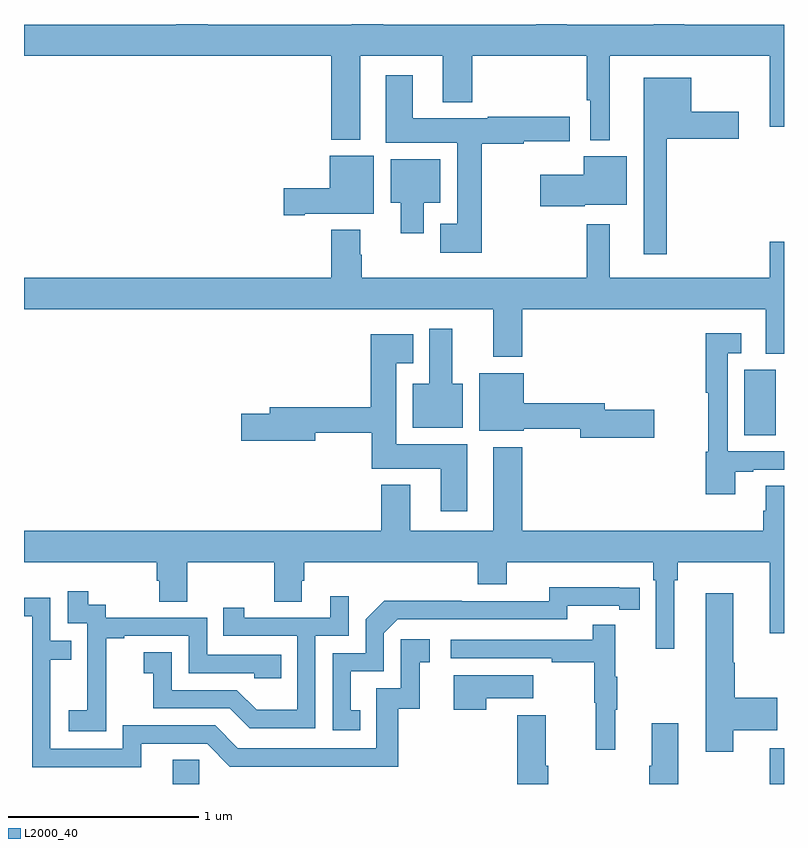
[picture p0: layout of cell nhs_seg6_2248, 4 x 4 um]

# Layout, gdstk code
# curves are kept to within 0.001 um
import gdstk
lib = gdstk.Library(unit=1e-6, precision=1e-09)
def R(c, l, rs):  # rectangles x0, y0, x1, y1
    for r in rs: c.add(gdstk.rectangle(r[:2], r[2:], *l))
def P(c, l, *ps):  # polygons
    for p in ps: c.add(gdstk.Polygon(p, *l))
L2000_40 = (2000, 40)

nhs_seg6_2248 = lib.new_cell('nhs_seg6_2248')
R(nhs_seg6_2248, L2000_40, [(245.783,947.5,245.922,947.627), (248.924,947.5,249,947.689), (248.792,949.336,248.956,949.68)])
P(nhs_seg6_2248, L2000_40, [(248.083,951.332),(248.924,951.332),(248.924,950.958),(249,950.958),(249,951.496),(248.474,951.496),(248.474,951.5),(248.314,951.5),(248.314,951.496),(247.857,951.496),(247.857,951.5),(247.697,951.5),(247.697,951.496),(246.89,951.496),(246.89,951.5),(246.725,951.5),(246.725,951.496),(245.966,951.496),(245.966,951.5),(245.801,951.5),(245.801,951.496),(245,951.496),(245,951.332),(246.617,951.332),(246.617,950.891),(246.769,950.891),(246.769,951.332),(247.205,951.332),(247.205,951.089),(247.358,951.089),(247.358,951.332),(247.962,951.332),(247.962,951.1),(247.979,951.1),(247.979,950.888),(248.083,950.888)],
  [(247.41,950.87),(247.629,950.87),(247.629,950.882),(247.873,950.882),(247.873,951.012),(247.441,951.012),(247.441,951.004),(247.045,951.004),(247.045,951.229),(246.905,951.229),(246.905,950.876),(247.28,950.876),(247.28,950.449),(247.19,950.449),(247.19,950.297),(247.41,950.297)],
  [(248.383,950.897),(248.761,950.897),(248.761,951.039),(248.512,951.039),(248.512,951.217),(248.261,951.217),(248.261,950.289),(248.383,950.289)],
  [(246.478,950.501),(246.841,950.501),(246.841,950.806),(246.608,950.806),(246.608,950.636),(246.366,950.636),(246.366,950.494),(246.478,950.494)],
  [(247.95,950.549),(248.173,950.549),(248.173,950.803),(247.946,950.803),(247.946,950.707),(247.716,950.707),(247.716,950.542),(247.95,950.542)],
  [(247.105,950.558),(247.192,950.558),(247.192,950.788),(246.929,950.788),(246.929,950.558),(246.983,950.558),(246.983,950.4),(247.105,950.4)],
  [(247.622,950),(248.903,950),(248.903,949.765),(249,949.765),(249,950.353),(248.924,950.353),(248.924,950.164),(248.083,950.164),(248.083,950.446),(247.962,950.446),(247.962,950.164),(246.777,950.164),(246.777,950.285),(246.769,950.285),(246.769,950.416),(246.617,950.416),(246.617,950.164),(245,950.164),(245,950),(247.469,950),(247.469,949.748),(247.622,949.748)],
  [(247.309,949.606),(247.255,949.606),(247.255,949.897),(247.133,949.897),(247.133,949.606),(247.046,949.606),(247.046,949.376),(247.309,949.376)],
  [(248.743,949.143),(248.839,949.143),(248.839,949.155),(249,949.155),(249,949.251),(248.703,949.251),(248.703,949.767),(248.776,949.767),(248.776,949.873),(248.587,949.873),(248.587,949.56),(248.602,949.56),(248.602,949.248),(248.587,949.248),(248.587,949.026),(248.743,949.026)],
  [(247.333,949.288),(246.958,949.288),(246.958,949.715),(247.048,949.715),(247.048,949.867),(246.824,949.867),(246.824,949.484),(246.293,949.484),(246.293,949.448),(246.144,949.448),(246.144,949.306),(246.532,949.306),(246.532,949.348),(246.829,949.348),(246.829,949.16),(247.193,949.16),(247.193,948.936),(247.333,948.936)],
  [(248.317,949.469),(248.056,949.469),(248.056,949.505),(247.63,949.505),(247.63,949.663),(247.397,949.663),(247.397,949.358),(247.63,949.358),(247.63,949.369),(247.928,949.369),(247.928,949.322),(248.317,949.322)],
  [(248.422,948.572),(248.441,948.572),(248.441,948.668),(248.924,948.668),(248.924,948.294),(249,948.294),(249,949.07),(248.903,949.07),(248.903,948.938),(248.891,948.938),(248.891,948.832),(247.622,948.832),(247.622,949.273),(247.469,949.273),(247.469,948.832),(247.033,948.832),(247.033,949.075),(246.881,949.075),(246.881,948.832),(245,948.832),(245,948.668),(245.699,948.668),(245.699,948.57),(245.711,948.57),(245.711,948.46),(245.859,948.46),(245.859,948.668),(246.316,948.668),(246.316,948.46),(246.463,948.46),(246.463,948.57),(246.476,948.57),(246.476,948.668),(247.388,948.668),(247.388,948.551),(247.54,948.551),(247.54,948.668),(248.312,948.668),(248.312,948.572),(248.325,948.572),(248.325,948.213),(248.422,948.213)],
  [(246.77,947.889),(246.721,947.889),(246.721,948.093),(246.894,948.093),(246.894,948.294),(246.966,948.366),(247.86,948.366),(247.86,948.438),(248.132,948.438),(248.132,948.418),(248.24,948.418),(248.24,948.534),(247.764,948.535),(247.764,948.462),(247.304,948.462),(247.304,948.464),(246.896,948.464),(246.798,948.366),(246.798,948.189),(246.624,948.189),(246.624,947.784),(246.77,947.784)],
  [(245.433,947.983),(245.432,947.983),(245.432,948.267),(245.527,948.267),(245.527,948.279),(245.868,948.279),(245.868,948.084),(246.213,948.084),(246.213,948.057),(246.353,948.057),(246.353,948.18),(245.964,948.18),(245.964,948.375),(245.43,948.375),(245.43,948.444),(245.338,948.444),(245.338,948.514),(245.229,948.514),(245.229,948.345),(245.334,948.345),(245.334,948.116),(245.333,948.116),(245.333,947.887),(245.235,947.887),(245.235,947.777),(245.433,947.777)],
  [(248.734,947.783),(248.965,947.783),(248.965,947.954),(248.742,947.954),(248.742,948.137),(248.734,948.137),(248.734,948.505),(248.588,948.505),(248.588,947.67),(248.734,947.67)],
  [(246.534,948.279),(246.708,948.279),(246.708,948.487),(246.611,948.487),(246.611,948.375),(246.16,948.375),(246.16,948.427),(246.049,948.427),(246.049,948.279),(246.438,948.279),(246.438,947.89),(246.224,947.89),(246.12,947.994),(245.778,947.994),(245.778,948.193),(245.631,948.193),(245.631,948.083),(245.68,948.083),(245.68,947.898),(246.083,947.898),(246.188,947.793),(246.534,947.793)],
  [(245.617,947.712),(245.964,947.712),(246.084,947.592),(246.971,947.592),(246.971,947.895),(247.082,947.895),(247.082,948.141),(247.135,948.141),(247.135,948.262),(246.984,948.262),(246.984,948.003),(246.855,948.003),(246.855,947.688),(246.126,947.688),(246.006,947.808),(245.52,947.808),(245.52,947.685),(245.139,947.685),(245.139,948.154),(245.249,948.154),(245.249,948.255),(245.139,948.255),(245.139,948.48),(245,948.48),(245,948.384),(245.043,948.384),(245.043,947.589),(245.617,947.589)],
  [(248.111,947.891),(248.122,947.891),(248.122,948.065),(248.111,948.065),(248.111,948.337),(247.993,948.337),(247.993,948.258),(247.245,948.258),(247.245,948.162),(247.777,948.162),(247.777,948.142),(248.001,948.142),(248.001,947.928),(248.008,947.928),(248.008,947.679),(248.111,947.679)],
  [(247.433,947.951),(247.681,947.951),(247.681,948.073),(247.262,948.073),(247.262,947.892),(247.433,947.892)],
  [(248.443,947.821),(248.303,947.821),(248.303,947.596),(248.291,947.596),(248.291,947.5),(248.443,947.5)],
  [(247.76,947.596),(247.747,947.596),(247.747,947.863),(247.595,947.863),(247.595,947.5),(247.76,947.5)])

lib.write_gds('nhs_seg6_2248.gds')
